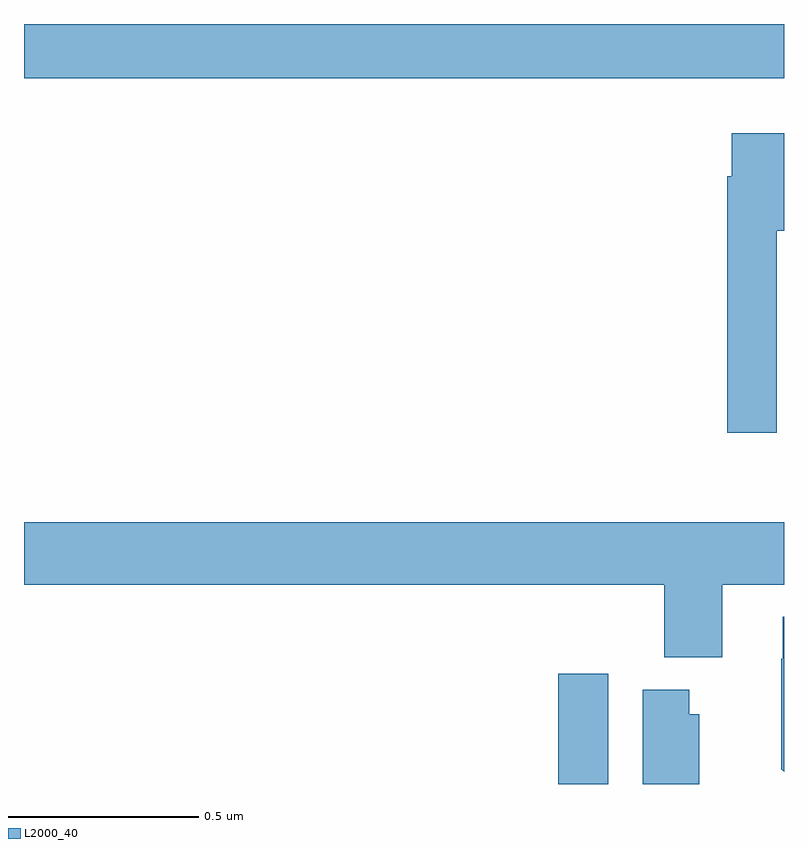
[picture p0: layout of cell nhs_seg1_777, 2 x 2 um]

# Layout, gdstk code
import gdstk
lib = gdstk.Library(unit=1e-6, precision=1e-09)
def R(c, l, rs):  # rectangles x0, y0, x1, y1
    for r in rs: c.add(gdstk.rectangle(r[:2], r[2:], *l))
def P(c, l, *ps):  # polygons
    for p in ps: c.add(gdstk.Polygon(p, *l))
L2000_40 = (2000, 40)

nhs_seg1_777 = lib.new_cell('nhs_seg1_777')
R(nhs_seg1_777, L2000_40, [(121.406,559.199,121.537,559.489), (120,561.056,122,561.199)])
P(nhs_seg1_777, L2000_40, [(121.981,560.655),(122,560.655),(122,560.911),(121.862,560.911),(121.862,560.798),(121.85,560.798),(121.85,560.124),(121.981,560.124)],
  [(121.837,559.724),(122,559.724),(122,559.888),(120,559.888),(120,559.724),(121.685,559.724),(121.685,559.532),(121.837,559.532)],
  [(122,559.639),(121.997,559.639),(121.997,559.529),(121.993,559.529),(121.993,559.238),(122,559.231)],
  [(121.777,559.383),(121.75,559.383),(121.75,559.447),(121.628,559.447),(121.628,559.199),(121.777,559.199)])

lib.write_gds('nhs_seg1_777.gds')
